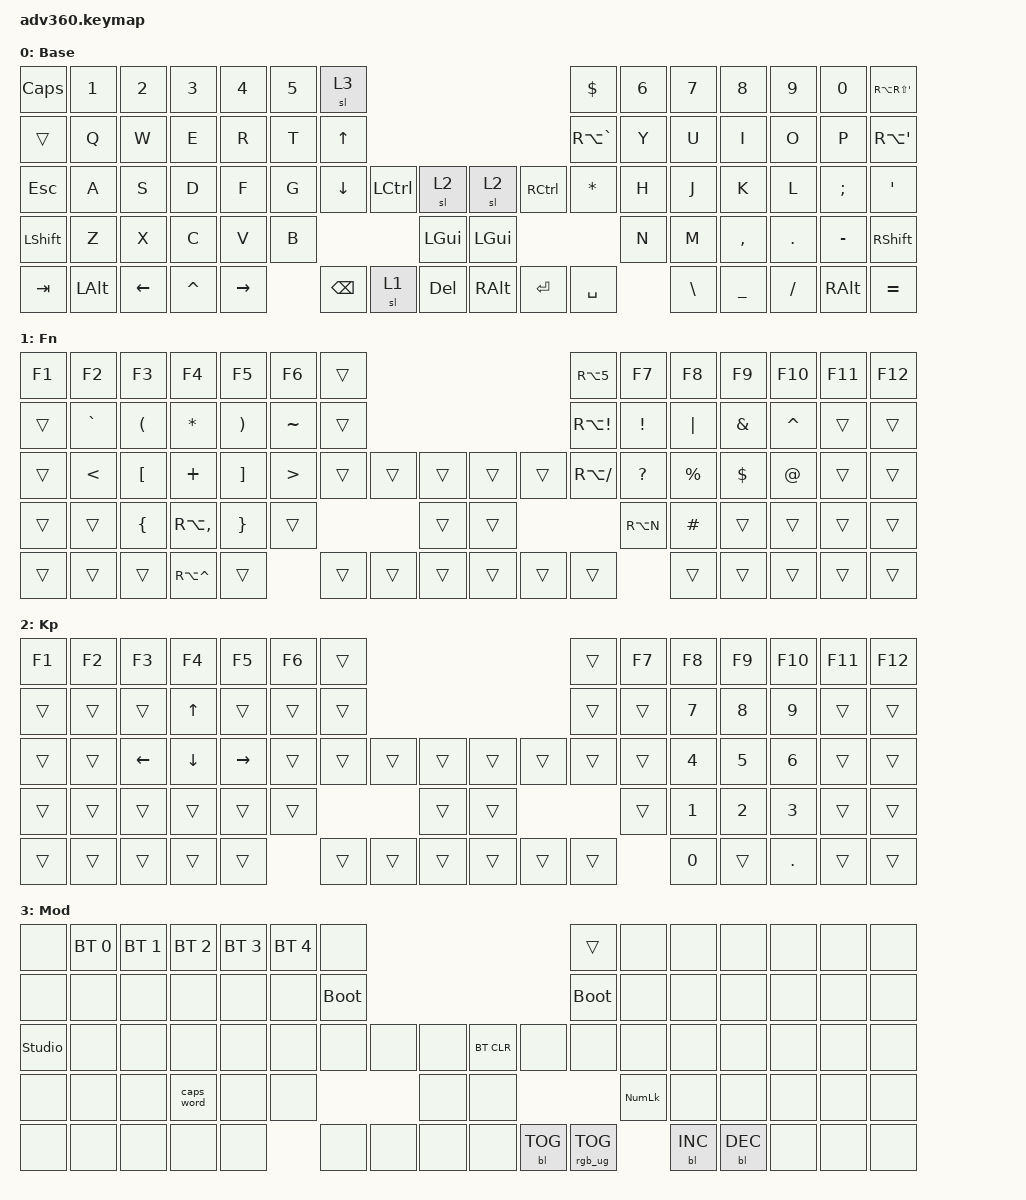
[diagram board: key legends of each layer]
#include <dt-bindings/zmk/stp.h>
#include <behaviors.dtsi>
#include <dt-bindings/zmk/backlight.h>
#include <dt-bindings/zmk/bt.h>
#include <dt-bindings/zmk/keys.h>
#include <dt-bindings/zmk/rgb.h>

/ {
    behaviors {
        #include "macros.dtsi"
      #include "version.dtsi"

        hm: homerow_mods {
            compatible = "zmk,behavior-hold-tap";
            label = "HOMEROW_MODS";
            #binding-cells = <2>;
            tapping-term-ms = <200>;
            quick_tap_ms = <175>;
            flavor = "tap-preferred";
            bindings = <&kp>, <&kp>;
        };
    };

    keymap {
        compatible = "zmk,keymap";

        default_layer {
            display-name = "Base";
            bindings = <
&kp CAPSLOCK    &kp N1        &kp N2    &kp N3     &kp N4     &kp N5  &sl 3                                                                &kp DOLLAR     &kp N6  &kp N7         &kp N8     &kp N9     &kp N0         &kp RA(RS(SINGLE_QUOTE))
&trans          &kp Q         &kp W     &kp E      &kp R      &kp T   &kp UP_ARROW                                                         &kp RA(GRAVE)  &kp Y   &kp U          &kp I      &kp O      &kp P          &kp RA(APOSTROPHE)
&kp ESCAPE      &kp A         &kp S     &kp D      &kp F      &kp G   &kp DOWN      &kp LCTRL  &sl 2             &sl 2          &kp RCTRL  &kp ASTERISK   &kp H   &kp J          &kp K      &kp L      &kp SEMI       &kp SQT
&kp LEFT_SHIFT  &kp Z         &kp X     &kp C      &kp V      &kp B                            &kp LEFT_GUI      &kp LEFT_GUI                             &kp N   &kp M          &kp COMMA  &kp DOT    &kp MINUS      &kp RIGHT_SHIFT
&kp TAB         &kp LEFT_ALT  &kp LEFT  &kp CARET  &kp RIGHT          &kp BSPC      &sl 1      &kp DEL           &kp RIGHT_ALT  &kp ENTER  &kp SPACE              &kp BACKSLASH  &kp UNDER  &kp SLASH  &kp RIGHT_ALT  &kp EQUAL
            >;
        };

        sym {
            display-name = "Fn";
            bindings = <
&kp F1  &kp F2         &kp F3                &kp F4         &kp F5                 &kp F6            &trans                                      &kp RA(N5)           &kp F7        &kp F8       &kp F9         &kp F10      &kp F11  &kp F12
&trans  &kp GRAVE      &kp LEFT_PARENTHESIS  &kp ASTERISK   &kp RIGHT_PARENTHESIS  &kp TILDE         &trans                                      &kp RA(EXCLAMATION)  &kp EXCL      &kp PIPE     &kp AMPERSAND  &kp CARET    &trans   &trans
&trans  &kp LESS_THAN  &kp LEFT_BRACKET      &kp PLUS       &kp RIGHT_BRACKET      &kp GREATER_THAN  &trans  &trans  &trans      &trans  &trans  &kp RA(SLASH)        &kp QUESTION  &kp PERCENT  &kp DOLLAR     &kp AT_SIGN  &trans   &trans
&trans  &trans         &kp LEFT_BRACE        &kp RA(COMMA)  &kp RIGHT_BRACE        &trans                            &trans      &trans                               &kp RA(N)     &kp HASH     &trans         &trans       &trans   &trans
&trans  &trans         &trans                &kp RA(CARET)  &trans                                   &trans  &trans  &trans      &trans  &trans  &trans                             &trans       &trans         &trans       &trans   &trans
            >;

            label = "symbol_layer";
        };

        keypad {
            display-name = "Kp";
            bindings = <
&kp F1  &kp F2  &kp F3    &kp F4        &kp F5     &kp F6  &trans                                      &trans  &kp F7  &kp F8        &kp F9        &kp F10       &kp F11  &kp F12
&trans  &trans  &trans    &kp UP_ARROW  &trans     &trans  &trans                                      &trans  &trans  &kp NUMBER_7  &kp NUMBER_8  &kp NUMBER_9  &trans   &trans
&trans  &trans  &kp LEFT  &kp DOWN      &kp RIGHT  &trans  &trans  &trans  &trans      &trans  &trans  &trans  &trans  &kp NUMBER_4  &kp NUMBER_5  &kp NUMBER_6  &trans   &trans
&trans  &trans  &trans    &trans        &trans     &trans                  &trans      &trans                  &trans  &kp NUMBER_1  &kp NUMBER_2  &kp NUMBER_3  &trans   &trans
&trans  &trans  &trans    &trans        &trans             &trans  &trans  &trans      &trans  &trans  &trans          &kp NUMBER_0  &trans        &kp PERIOD    &trans   &trans
            >;
        };

        mod {
            display-name = "Mod";
            bindings = <
&none           &bt BT_SEL 0  &bt BT_SEL 1  &bt BT_SEL 2  &bt BT_SEL 3  &bt BT_SEL 4  &none                                                  &trans           &none           &none       &none       &none  &none  &none
&none           &none         &none         &none         &none         &none         &bootloader                                            &bootloader      &none           &none       &none       &none  &none  &none
&studio_unlock  &none         &none         &none         &none         &none         &none        &none  &none      &bt BT_CLR  &none       &none            &none           &none       &none       &none  &none  &none
&none           &none         &none         &caps_word    &none         &none                             &none      &none                                    &kp KP_NUMLOCK  &none       &none       &none  &none  &none
&none           &none         &none         &none         &none                       &none        &none  &none      &none       &bl BL_TOG  &rgb_ug RGB_TOG                  &bl BL_INC  &bl BL_DEC  &none  &none  &none
            >;
        };
    };
};
